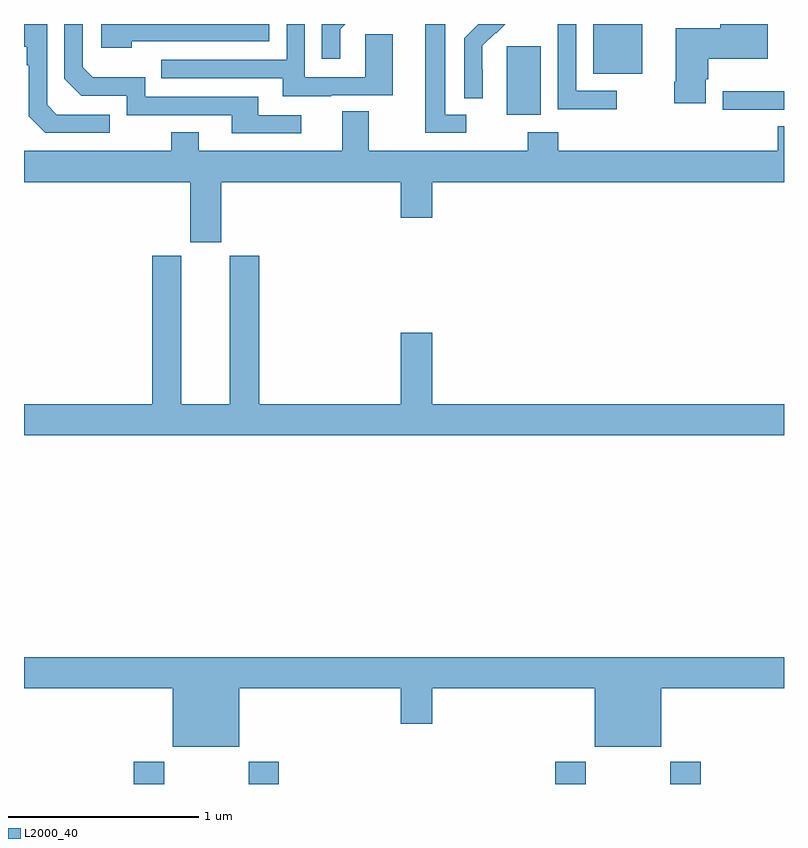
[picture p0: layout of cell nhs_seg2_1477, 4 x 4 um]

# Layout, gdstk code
import gdstk
lib = gdstk.Library(unit=1e-6, precision=1e-09)
def R(c, l, rs):  # rectangles x0, y0, x1, y1
    for r in rs: c.add(gdstk.rectangle(r[:2], r[2:], *l))
def P(c, l, *ps):  # polygons
    for p in ps: c.add(gdstk.Polygon(p, *l))
L2000_40 = (2000, 40)

nhs_seg2_1477 = lib.new_cell('nhs_seg2_1477')
R(nhs_seg2_1477, L2000_40, [(187.577,645.8,187.737,645.916), (188.182,645.8,188.342,645.916), (189.797,645.8,189.957,645.916), (190.402,645.8,190.562,645.916), (189.542,649.322,189.721,649.683), (190.677,649.35,191,649.447), (189.995,649.538,190.255,649.8)])
P(nhs_seg2_1477, L2000_40, [(189.328,649.323),(189.217,649.323),(189.217,649.8),(189.113,649.8),(189.113,649.227),(189.328,649.227)],
  [(188.665,649.773),(188.692,649.8),(188.568,649.8),(188.568,649.617),(188.665,649.617)],
  [(188.617,649.425),(188.941,649.425),(188.941,649.745),(188.796,649.745),(188.796,649.521),(188.478,649.521),(188.478,649.8),(188.382,649.8),(188.382,649.611),(187.723,649.611),(187.723,649.515),(188.363,649.515),(188.363,649.421),(188.617,649.421)],
  [(190.588,649.508),(190.601,649.508),(190.601,649.616),(190.915,649.616),(190.915,649.8),(190.664,649.8),(190.664,649.777),(190.43,649.777),(190.43,649.495),(190.423,649.495),(190.423,649.383),(190.588,649.383)],
  [(188.458,649.32),(188.233,649.32),(188.233,649.416),(187.638,649.416),(187.638,649.519),(187.361,649.519),(187.308,649.572),(187.308,649.8),(187.212,649.8),(187.212,649.512),(187.302,649.422),(187.542,649.422),(187.542,649.32),(188.093,649.32),(188.093,649.224),(188.458,649.224)],
  [(187.45,649.323),(187.173,649.323),(187.122,649.374),(187.122,649.8),(187,649.8),(187,649.679),(187.014,649.679),(187.014,649.583),(187.026,649.583),(187.026,649.314),(187.113,649.227),(187.45,649.227)],
  [(190.12,649.449),(189.906,649.449),(189.906,649.8),(189.808,649.8),(189.808,649.78),(189.81,649.78),(189.81,649.351),(190.12,649.351)],
  [(189.414,649.562),(189.413,649.562),(189.413,649.685),(189.483,649.755),(189.486,649.752),(189.534,649.8),(189.39,649.8),(189.391,649.799),(189.318,649.726),(189.318,649.408),(189.414,649.408)],
  [(187.568,649.71),(188.292,649.71),(188.292,649.8),(187.407,649.8),(187.407,649.676),(187.568,649.676)],
  [(188.038,648.968),(188.984,648.968),(188.984,648.78),(189.148,648.78),(189.148,648.968),(191,648.968),(191,649.261),(190.967,649.261),(190.967,649.132),(189.812,649.132),(189.812,649.231),(189.652,649.231),(189.652,649.132),(188.815,649.132),(188.815,649.34),(188.675,649.34),(188.675,649.132),(187.921,649.132),(187.921,649.231),(187.774,649.231),(187.774,649.132),(187,649.132),(187,648.968),(187.874,648.968),(187.874,648.651),(188.038,648.651)],
  [(191,647.8),(189.148,647.8),(189.148,648.175),(188.984,648.175),(188.984,647.8),(188.237,647.8),(188.237,648.579),(188.084,648.579),(188.084,647.8),(187.828,647.8),(187.828,648.579),(187.676,648.579),(187.676,647.8),(187,647.8),(187,647.636),(191,647.636)],
  [(188.134,646.304),(188.984,646.304),(188.984,646.116),(189.148,646.116),(189.148,646.304),(190.004,646.304),(190.004,645.995),(190.354,645.995),(190.354,646.304),(191,646.304),(191,646.468),(187,646.468),(187,646.304),(187.784,646.304),(187.784,645.995),(188.134,645.995)])

lib.write_gds('nhs_seg2_1477.gds')
